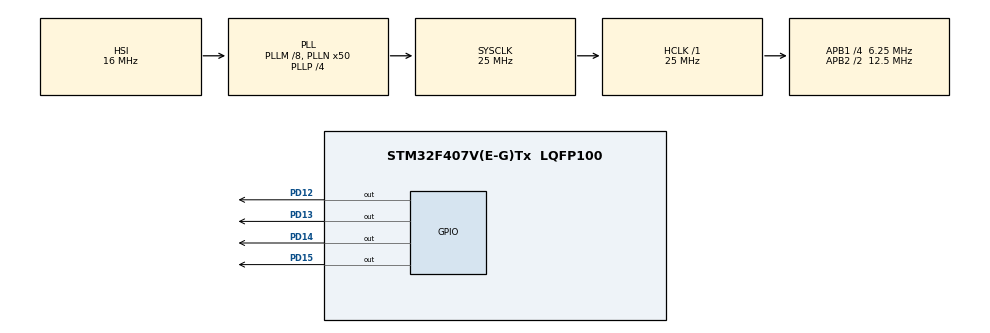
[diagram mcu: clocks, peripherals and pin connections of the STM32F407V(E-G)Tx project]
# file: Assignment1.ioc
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Mcu.Family=STM32F4
Mcu.Name=STM32F407V(E-G)Tx
Mcu.Package=LQFP100
NVIC.PriorityGroup=NVIC_PRIORITYGROUP_4
NVIC.TIM1_UP_TIM10_IRQn=true\:15\:0\:false\:false\:true\:false\:true\:true
NVIC.TimeBase=TIM1_UP_TIM10_IRQn
NVIC.TimeBaseIP=TIM1
PD12.Signal=GPIO_Output
PD13.Signal=GPIO_Output
PD14.Signal=GPIO_Output
PD15.Signal=GPIO_Output
ProjectManager.HeapSize=0x200
ProjectManager.StackSize=0x400
ProjectManager.TargetToolchain=STM32CubeIDE
RCC.48MHZClocksFreq_Value=14285714.285714285
RCC.AHBFreq_Value=25000000
RCC.APB1CLKDivider=RCC_HCLK_DIV4
RCC.APB1Freq_Value=6250000
RCC.APB1TimFreq_Value=12500000
RCC.APB2CLKDivider=RCC_HCLK_DIV2
RCC.APB2Freq_Value=12500000
RCC.APB2TimFreq_Value=25000000
RCC.CortexFreq_Value=25000000
RCC.HCLKFreq_Value=25000000
RCC.HSE_VALUE=8000000
RCC.HSI_VALUE=16000000
RCC.PLLM=8
RCC.PLLN=50
RCC.PLLP=RCC_PLLP_DIV4
RCC.PLLQ=7
RCC.SYSCLKFreq_VALUE=25000000
RCC.SYSCLKSource=RCC_SYSCLKSOURCE_PLLCLK
RCC.VCOOutputFreq_Value=100000000
VP_SYS_VS_tim1.Mode=TIM1
board=STM32F407G-DISC1

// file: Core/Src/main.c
/* USER CODE BEGIN Header */
/**
  ******************************************************************************
  * @file           : main.c
  * @brief          : Main program body
  ******************************************************************************
  * @attention
  *
  * Copyright (c) 2024 STMicroelectronics.
  * All rights reserved.
  *
  * This software is licensed under terms that can be found in the LICENSE file
  * in the root directory of this software component.
  * If no LICENSE file comes with this software, it is provided AS-IS.
  *
  ******************************************************************************
  */
/* USER CODE END Header */
#include "main.h"

/* USER CODE BEGIN Includes */
#include "FreeRTOS.h"
#include  "FreeRTOSConfig.h"
#include "task.h"
/* USER CODE END Includes */

void SystemClock_Config(void);
static void MX_GPIO_Init(void);

/* USER CODE BEGIN 0 */

void vAperiodicTask(void *pvParam)
{
	while(1)
	{
		HAL_GPIO_TogglePin(GPIOD, GPIO_PIN_13);
		vTaskDelay(100 / portTICK_RATE_MS);

		HAL_GPIO_TogglePin(GPIOD, GPIO_PIN_12);
		vTaskDelay(2000 / portTICK_RATE_MS);
	}
	vTaskDelete(NULL);
}

void vPeriodicTask(void *pvParam)
{
	portTickType wakeupTime = xTaskGetTickCount();
	while(1)
	{
		HAL_GPIO_TogglePin(GPIOD, GPIO_PIN_14);
		vTaskDelayUntil(&wakeupTime ,3000 / portTICK_RATE_MS);
		HAL_GPIO_TogglePin(GPIOD, GPIO_PIN_15);
		vTaskDelayUntil(&wakeupTime ,4000 / portTICK_RATE_MS);
	}
	vTaskDelete(NULL);
}

/* USER CODE END 0 */

int main(void)
{

  /* USER CODE BEGIN 1 */
	BaseType_t ret;
  /* USER CODE END 1 */

  /* MCU Configuration--------------------------------------------------------*/

  /* Reset of all peripherals, Initializes the Flash interface and the Systick. */
  HAL_Init();

  /* Configure the system clock */
  SystemClock_Config();

  /* Initialize all configured peripherals */
  MX_GPIO_Init();
  /* USER CODE BEGIN 2 */
  ret = xTaskCreate(vPeriodicTask, "Periodic", configMINIMAL_STACK_SIZE, NULL, 2, NULL);
  if(ret != pdTRUE)
	  Error_Handler();
  ret = xTaskCreate(vAperiodicTask, "Aperiodic", configMINIMAL_STACK_SIZE, NULL, 2, NULL);
  if(ret != pdTRUE)
  	  Error_Handler();

  vTaskStartScheduler();
  /* USER CODE END 2 */

  /* Infinite loop */
  while (1)
  {

  }
}

void SystemClock_Config(void)
{
  RCC_OscInitTypeDef RCC_OscInitStruct = {0};
  RCC_ClkInitTypeDef RCC_ClkInitStruct = {0};

  /** Configure the main internal regulator output voltage
  */
  __HAL_RCC_PWR_CLK_ENABLE();
  __HAL_PWR_VOLTAGESCALING_CONFIG(PWR_REGULATOR_VOLTAGE_SCALE1);

  /** Initializes the RCC Oscillators according to the specified parameters
  * in the RCC_OscInitTypeDef structure.
  */
  RCC_OscInitStruct.OscillatorType = RCC_OSCILLATORTYPE_HSI;
  RCC_OscInitStruct.HSIState = RCC_HSI_ON;
  RCC_OscInitStruct.HSICalibrationValue = RCC_HSICALIBRATION_DEFAULT;
  RCC_OscInitStruct.PLL.PLLState = RCC_PLL_ON;
  RCC_OscInitStruct.PLL.PLLSource = RCC_PLLSOURCE_HSI;
  RCC_OscInitStruct.PLL.PLLM = 8;
  RCC_OscInitStruct.PLL.PLLN = 50;
  RCC_OscInitStruct.PLL.PLLP = RCC_PLLP_DIV4;
  RCC_OscInitStruct.PLL.PLLQ = 7;
  if (HAL_RCC_OscConfig(&RCC_OscInitStruct) != HAL_OK)
  {
    Error_Handler();
  }

  /** Initializes the CPU, AHB and APB buses clocks
  */
  RCC_ClkInitStruct.ClockType = RCC_CLOCKTYPE_HCLK|RCC_CLOCKTYPE_SYSCLK
                              |RCC_CLOCKTYPE_PCLK1|RCC_CLOCKTYPE_PCLK2;
  RCC_ClkInitStruct.SYSCLKSource = RCC_SYSCLKSOURCE_PLLCLK;
  RCC_ClkInitStruct.AHBCLKDivider = RCC_SYSCLK_DIV1;
  RCC_ClkInitStruct.APB1CLKDivider = RCC_HCLK_DIV4;
  RCC_ClkInitStruct.APB2CLKDivider = RCC_HCLK_DIV2;

  if (HAL_RCC_ClockConfig(&RCC_ClkInitStruct, FLASH_LATENCY_0) != HAL_OK)
  {
    Error_Handler();
  }
}

static void MX_GPIO_Init(void)
{
  GPIO_InitTypeDef GPIO_InitStruct = {0};

  /* GPIO Ports Clock Enable */
  __HAL_RCC_GPIOD_CLK_ENABLE();

  /*Configure GPIO pin Output Level */
  HAL_GPIO_WritePin(GPIOD, GPIO_PIN_12|GPIO_PIN_13|GPIO_PIN_14|GPIO_PIN_15, GPIO_PIN_RESET);

  /*Configure GPIO pins : PD12 PD13 PD14 PD15 */
  GPIO_InitStruct.Pin = GPIO_PIN_12|GPIO_PIN_13|GPIO_PIN_14|GPIO_PIN_15;
  GPIO_InitStruct.Mode = GPIO_MODE_OUTPUT_PP;
  GPIO_InitStruct.Pull = GPIO_NOPULL;
  GPIO_InitStruct.Speed = GPIO_SPEED_FREQ_LOW;
  HAL_GPIO_Init(GPIOD, &GPIO_InitStruct);

}

void HAL_TIM_PeriodElapsedCallback(TIM_HandleTypeDef *htim)
{
  if (htim->Instance == TIM1) {
    HAL_IncTick();
  }
}

void Error_Handler(void)
{
  __disable_irq();
  while (1)
  {
  }
}
